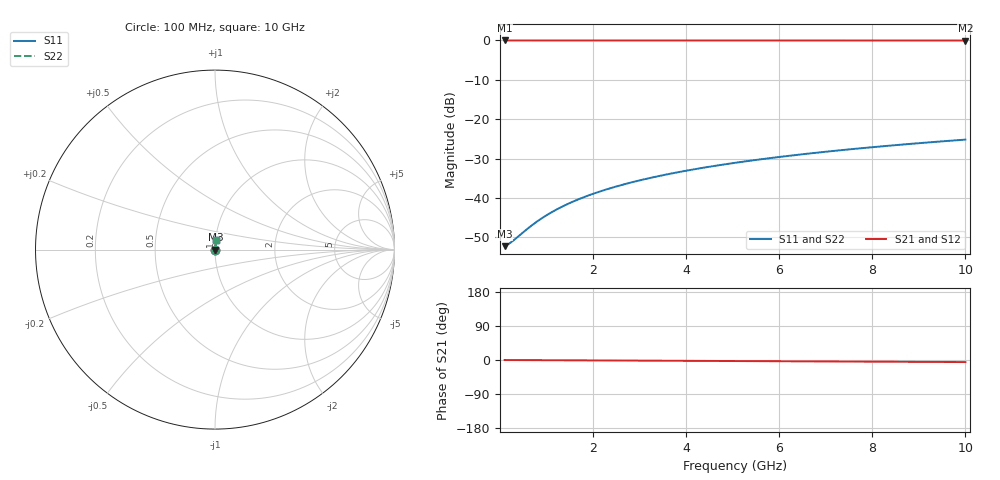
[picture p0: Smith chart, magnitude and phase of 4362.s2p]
# Hz S RI R 50.00
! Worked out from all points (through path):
!   100 points, 100 MHz to 10 GHz, reference 50 ohm
!   highest |S21| = -0.02 dB at 100 MHz (marker M1); lowest = 0.0 dB at 10 GHz (marker M2)
!   lowest |S11| = -52.2 dB at 100 MHz (marker M3), VSWR 1.00, Z = 50.2 + j0.0551 ohm
!   |S11| at or under -10 dB: start of sweep to end of sweep
!   |S22| runs from -52.2 to -25.2 dB; largest |S21 - S12| = 0
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1e8  0.00238 0.000549  0.9976 -0.000952  0.9976 -0.000952  0.00238 0.000549
2e8  0.0024 0.0011  0.9976 -0.0019  0.9976 -0.0019  0.0024 0.0011
3e8  0.00242 0.00165  0.9976 -0.00286  0.9976 -0.00286  0.00242 0.00165
6e8  0.00245 0.00329  0.9975 -0.00571  0.9975 -0.00571  0.00245 0.00329
7e8  0.00247 0.00384  0.9975 -0.00666  0.9975 -0.00666  0.00247 0.00384
8e8  0.00248 0.00439  0.9975 -0.00762  0.9975 -0.00762  0.00248 0.00439
1e9  0.00251 0.00549  0.9975 -0.00952  0.9975 -0.00952  0.00251 0.00549
1.2e9  0.00254 0.00658  0.9974 -0.0114  0.9974 -0.0114  0.00254 0.00658
1.4e9  0.00258 0.00768  0.9974 -0.0133  0.9974 -0.0133  0.00258 0.00768
1.6e9  0.00262 0.00878  0.9974 -0.0152  0.9974 -0.0152  0.00262 0.00878
1.8e9  0.00266 0.00987  0.9973 -0.0171  0.9973 -0.0171  0.00266 0.00987
2.1e9  0.00273 0.0115  0.9972 -0.02  0.9972 -0.02  0.00273 0.0115
2.5e9  0.00284 0.0137  0.9971 -0.0238  0.9971 -0.0238  0.00284 0.0137
2.9e9  0.00296 0.0159  0.997 -0.0276  0.997 -0.0276  0.00296 0.0159
3.4e9  0.00314 0.0186  0.9968 -0.0324  0.9968 -0.0324  0.00314 0.0186
4.2e9  0.00347 0.023  0.9964 -0.04  0.9964 -0.04  0.00347 0.023
5.1e9  0.00393 0.0279  0.9958 -0.0485  0.9958 -0.0485  0.00393 0.0279
5.9e9  0.00441 0.0323  0.9953 -0.0561  0.9953 -0.0561  0.00441 0.0323
6.7e9  0.00495 0.0366  0.9947 -0.0637  0.9947 -0.0637  0.00495 0.0366
7.5e9  0.00556 0.041  0.994 -0.0713  0.994 -0.0713  0.00556 0.041
8.4e9  0.00632 0.0459  0.9931 -0.0798  0.9931 -0.0798  0.00632 0.0459
1e10  0.00788 0.0545  0.9913 -0.0949  0.9913 -0.0949  0.00788 0.0545
